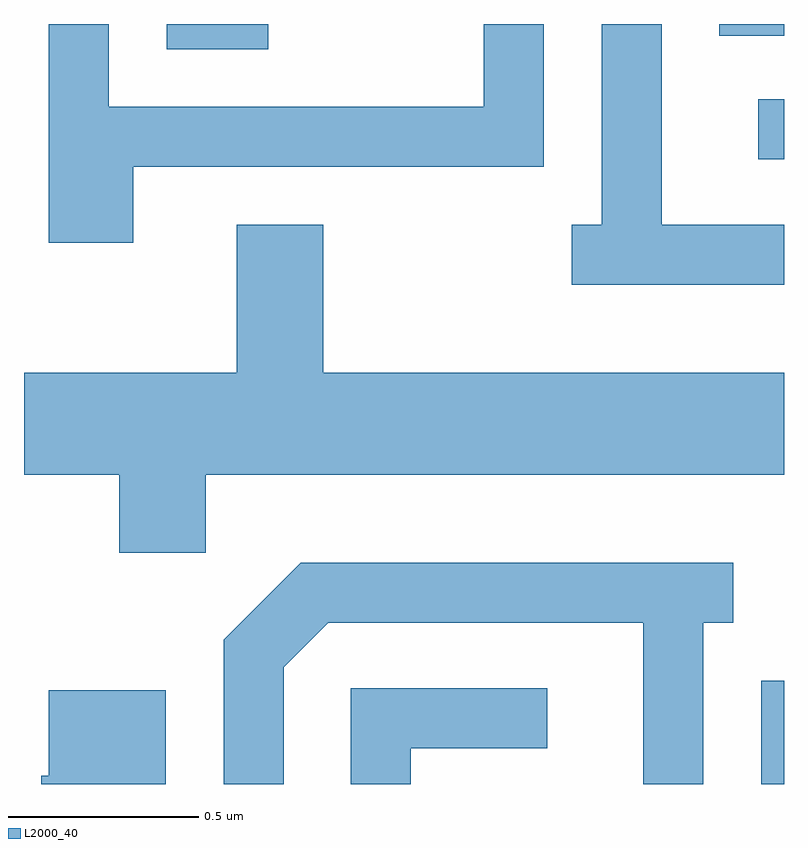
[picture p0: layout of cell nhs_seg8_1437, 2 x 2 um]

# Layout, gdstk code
import gdstk
lib = gdstk.Library(unit=1e-6, precision=1e-09)
def R(c, l, rs):  # rectangles x0, y0, x1, y1
    for r in rs: c.add(gdstk.rectangle(r[:2], r[2:], *l))
def P(c, l, *ps):  # polygons
    for p in ps: c.add(gdstk.Polygon(p, *l))
L2000_40 = (2000, 40)

nhs_seg8_1437 = lib.new_cell('nhs_seg8_1437')
R(nhs_seg8_1437, L2000_40, [(197.551,1873.342,197.611,1873.614), (197.543,1874.986,197.611,1875.144), (195.986,1875.276,196.254,1875.342), (197.441,1875.311,197.611,1875.342), (196.406,1875.341,196.669,1875.342)])
P(nhs_seg8_1437, L2000_40, [(195.899,1874.966),(196.979,1874.966),(196.979,1875.342),(196.821,1875.342),(196.821,1875.124),(195.834,1875.124),(195.834,1875.342),(195.676,1875.342),(195.676,1874.766),(195.899,1874.766)],
  [(197.611,1874.814),(197.289,1874.814),(197.289,1875.342),(197.131,1875.342),(197.131,1874.814),(197.053,1874.814),(197.053,1874.656),(197.611,1874.656)],
  [(196.089,1874.156),(197.611,1874.156),(197.611,1874.424),(196.399,1874.424),(196.399,1874.814),(196.171,1874.814),(196.171,1874.424),(195.611,1874.424),(195.611,1874.156),(195.861,1874.156),(195.861,1873.951),(196.089,1873.951)],
  [(196.294,1873.649),(196.412,1873.766),(197.241,1873.766),(197.241,1873.342),(197.399,1873.342),(197.399,1873.766),(197.478,1873.766),(197.478,1873.924),(196.339,1873.924),(196.136,1873.722),(196.136,1873.342),(196.294,1873.342)],
  [(196.629,1873.436),(196.988,1873.436),(196.988,1873.594),(196.471,1873.594),(196.471,1873.342),(196.629,1873.342)],
  [(195.984,1873.589),(195.676,1873.589),(195.676,1873.364),(195.656,1873.364),(195.656,1873.342),(195.984,1873.342)])

lib.write_gds('nhs_seg8_1437.gds')
